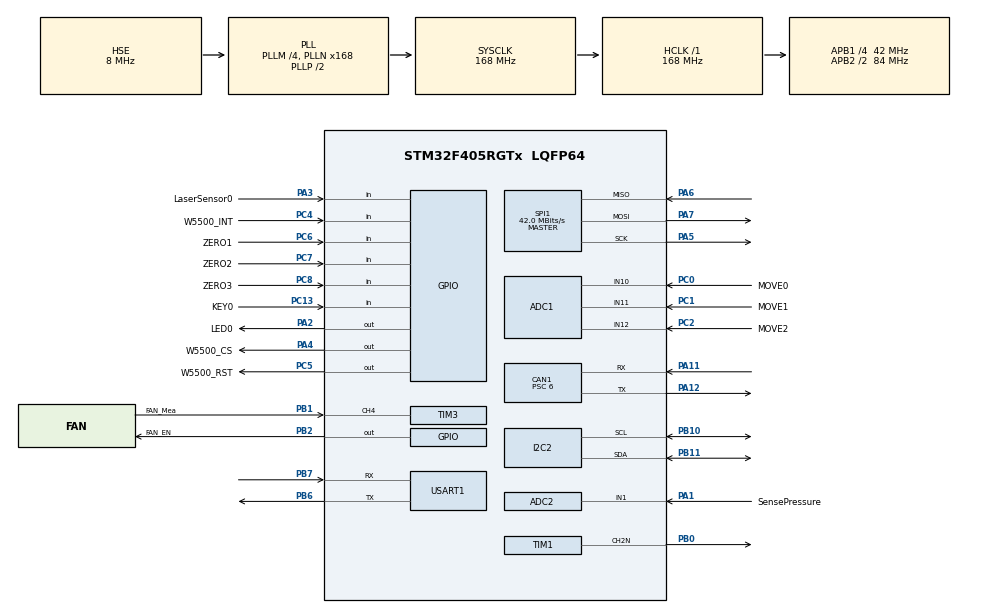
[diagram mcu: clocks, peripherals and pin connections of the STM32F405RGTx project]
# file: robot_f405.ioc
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ADC1.Channel-0\#ChannelRegularConversion=ADC_CHANNEL_10
ADC1.Channel-1\#ChannelRegularConversion=ADC_CHANNEL_11
ADC1.Channel-2\#ChannelRegularConversion=ADC_CHANNEL_12
ADC1.DiscontinuousConvMode=ENABLE
ADC1.NbrOfConversion=3
ADC1.NbrOfConversionFlag=1
ADC1.NbrOfDiscConversion=1
ADC1.Rank-0\#ChannelRegularConversion=1
ADC1.Rank-1\#ChannelRegularConversion=2
ADC1.Rank-2\#ChannelRegularConversion=3
ADC1.SamplingTime-0\#ChannelRegularConversion=ADC_SAMPLETIME_480CYCLES
ADC1.SamplingTime-1\#ChannelRegularConversion=ADC_SAMPLETIME_480CYCLES
ADC1.SamplingTime-2\#ChannelRegularConversion=ADC_SAMPLETIME_480CYCLES
ADC1.ScanConvMode=ENABLE
ADC1.master=1
ADC2.Channel-0\#ChannelRegularConversion=ADC_CHANNEL_1
ADC2.NbrOfConversionFlag=1
ADC2.Rank-0\#ChannelRegularConversion=1
ADC2.SamplingTime-0\#ChannelRegularConversion=ADC_SAMPLETIME_3CYCLES
CAN1.BS1=CAN_BS1_4TQ
CAN1.BS2=CAN_BS2_2TQ
CAN1.CalculateBaudRate=1000000
CAN1.CalculateTimeBit=1000
CAN1.CalculateTimeQuantum=142.85714285714286
CAN1.Prescaler=6
Dma.ADC1.3.Direction=DMA_PERIPH_TO_MEMORY
Dma.ADC1.3.FIFOMode=DMA_FIFOMODE_DISABLE
Dma.ADC1.3.Instance=DMA2_Stream4
Dma.ADC1.3.MemDataAlignment=DMA_MDATAALIGN_HALFWORD
Dma.ADC1.3.MemInc=DMA_MINC_ENABLE
Dma.ADC1.3.Mode=DMA_NORMAL
Dma.ADC1.3.PeriphDataAlignment=DMA_PDATAALIGN_HALFWORD
Dma.ADC1.3.PeriphInc=DMA_PINC_DISABLE
Dma.ADC1.3.Priority=DMA_PRIORITY_LOW
Dma.Request0=SPI1_RX
Dma.Request1=SPI1_TX
Dma.Request2=USART1_RX
Dma.Request3=ADC1
Dma.SPI1_RX.0.Direction=DMA_PERIPH_TO_MEMORY
Dma.SPI1_RX.0.FIFOMode=DMA_FIFOMODE_DISABLE
Dma.SPI1_RX.0.Instance=DMA2_Stream0
Dma.SPI1_RX.0.MemDataAlignment=DMA_MDATAALIGN_BYTE
Dma.SPI1_RX.0.MemInc=DMA_MINC_ENABLE
Dma.SPI1_RX.0.Mode=DMA_NORMAL
Dma.SPI1_RX.0.PeriphDataAlignment=DMA_PDATAALIGN_BYTE
Dma.SPI1_RX.0.PeriphInc=DMA_PINC_DISABLE
Dma.SPI1_RX.0.Priority=DMA_PRIORITY_HIGH
Dma.SPI1_TX.1.Direction=DMA_MEMORY_TO_PERIPH
Dma.SPI1_TX.1.FIFOMode=DMA_FIFOMODE_DISABLE
Dma.SPI1_TX.1.Instance=DMA2_Stream3
Dma.SPI1_TX.1.MemDataAlignment=DMA_MDATAALIGN_BYTE
Dma.SPI1_TX.1.MemInc=DMA_MINC_ENABLE
Dma.SPI1_TX.1.Mode=DMA_NORMAL
Dma.SPI1_TX.1.PeriphDataAlignment=DMA_PDATAALIGN_BYTE
Dma.SPI1_TX.1.PeriphInc=DMA_PINC_DISABLE
Dma.SPI1_TX.1.Priority=DMA_PRIORITY_HIGH
Dma.USART1_RX.2.Direction=DMA_PERIPH_TO_MEMORY
Dma.USART1_RX.2.FIFOMode=DMA_FIFOMODE_DISABLE
Dma.USART1_RX.2.Instance=DMA2_Stream2
Dma.USART1_RX.2.MemDataAlignment=DMA_MDATAALIGN_BYTE
Dma.USART1_RX.2.MemInc=DMA_MINC_ENABLE
Dma.USART1_RX.2.Mode=DMA_NORMAL
Dma.USART1_RX.2.PeriphDataAlignment=DMA_PDATAALIGN_BYTE
Dma.USART1_RX.2.PeriphInc=DMA_PINC_DISABLE
Dma.USART1_RX.2.Priority=DMA_PRIORITY_LOW
FREERTOS.Tasks01=defaultTask,24,128,StartDefaultTask,Default,NULL,Dynamic,NULL,NULL
FREERTOS.configTOTAL_HEAP_SIZE=16384
Mcu.Family=STM32F4
Mcu.Name=STM32F405RGTx
Mcu.Package=LQFP64
NVIC.CAN1_RX1_IRQn=true\:5\:0\:false\:false\:true\:true\:true\:true\:true
NVIC.DMA2_Stream0_IRQn=true\:5\:0\:false\:false\:true\:true\:false\:true\:true
NVIC.DMA2_Stream2_IRQn=true\:5\:0\:false\:false\:true\:true\:false\:true\:true
NVIC.DMA2_Stream3_IRQn=true\:5\:0\:false\:false\:true\:true\:false\:true\:true
NVIC.DMA2_Stream4_IRQn=true\:5\:0\:false\:false\:true\:true\:false\:true\:true
NVIC.PriorityGroup=NVIC_PRIORITYGROUP_4
NVIC.TIM1_UP_TIM10_IRQn=true\:10\:0\:true\:false\:true\:true\:true\:true\:true
NVIC.TIM2_IRQn=true\:15\:0\:false\:false\:true\:false\:false\:true\:true
NVIC.TIM3_IRQn=true\:5\:0\:false\:false\:true\:true\:true\:true\:true
NVIC.TimeBase=TIM2_IRQn
NVIC.TimeBaseIP=TIM2
NVIC.USART1_IRQn=true\:5\:0\:false\:false\:true\:true\:true\:true\:true
PA1.GPIO_Label=SensePressure
PA1.Signal=ADCx_IN1
PA11.Mode=CAN_Activate
PA11.Signal=CAN1_RX
PA12.Mode=CAN_Activate
PA12.Signal=CAN1_TX
PA13.Mode=Serial_Wire
PA13.Signal=SYS_JTMS-SWDIO
PA14.Mode=Serial_Wire
PA14.Signal=SYS_JTCK-SWCLK
PA2.GPIO_Label=LED0
PA2.Signal=GPIO_Output
PA3.GPIO_Label=LaserSensor0
PA3.GPIO_PuPd=GPIO_PULLDOWN
PA3.Signal=GPIO_Input
PA4.GPIO_Label=W5500_CS
PA4.GPIO_PuPd=GPIO_PULLDOWN
PA4.Signal=GPIO_Output
PA5.Mode=Full_Duplex_Master
PA5.Signal=SPI1_SCK
PA6.GPIO_PuPd=GPIO_PULLDOWN
PA6.Mode=Full_Duplex_Master
PA6.Signal=SPI1_MISO
PA7.Mode=Full_Duplex_Master
PA7.Signal=SPI1_MOSI
PB0.Mode=PWM Generation2 CH2N
PB0.Signal=TIM1_CH2N
PB1.GPIO_Label=FAN_Mea
PB1.Signal=S_TIM3_CH4
PB10.Mode=I2C
PB10.Signal=I2C2_SCL
PB11.Mode=I2C
PB11.Signal=I2C2_SDA
PB2.GPIO_Label=FAN_EN
PB2.GPIO_PuPd=GPIO_PULLDOWN
PB2.Signal=GPIO_Output
PB6.Mode=Asynchronous
PB6.Signal=USART1_TX
PB7.Mode=Asynchronous
PB7.Signal=USART1_RX
PC0.GPIO_Label=MOVE0
PC0.Signal=ADCx_IN10
PC1.GPIO_Label=MOVE1
PC1.Signal=ADCx_IN11
PC13-ANTI_TAMP.GPIO_Label=KEY0
PC13-ANTI_TAMP.Signal=GPIO_Input
PC2.GPIO_Label=MOVE2
PC2.Signal=ADCx_IN12
PC4.GPIO_Label=W5500_INT
PC4.Signal=GPIO_Input
PC5.GPIO_Label=W5500_RST
PC5.GPIO_PuPd=GPIO_PULLDOWN
PC5.Signal=GPIO_Output
PC6.GPIO_Label=ZERO1
PC6.GPIO_PuPd=GPIO_PULLDOWN
PC6.Signal=GPIO_Input
PC7.GPIO_Label=ZERO2
PC7.GPIO_PuPd=GPIO_PULLDOWN
PC7.Signal=GPIO_Input
PC8.GPIO_Label=ZERO3
PC8.GPIO_PuPd=GPIO_PULLDOWN
PC8.Signal=GPIO_Input
PH0-OSC_IN.Mode=HSE-External-Oscillator
PH0-OSC_IN.Signal=RCC_OSC_IN
PH1-OSC_OUT.Mode=HSE-External-Oscillator
PH1-OSC_OUT.Signal=RCC_OSC_OUT
ProjectManager.HeapSize=0x400
ProjectManager.StackSize=0x800
ProjectManager.TargetToolchain=MDK-ARM V5.32
RCC.48MHZClocksFreq_Value=84000000
RCC.AHBFreq_Value=168000000
RCC.APB1CLKDivider=RCC_HCLK_DIV4
RCC.APB1Freq_Value=42000000
RCC.APB1TimFreq_Value=84000000
RCC.APB2CLKDivider=RCC_HCLK_DIV2
RCC.APB2Freq_Value=84000000
RCC.APB2TimFreq_Value=168000000
RCC.CortexFreq_Value=168000000
RCC.HCLKFreq_Value=168000000
RCC.HSE_VALUE=8000000
RCC.HSI_VALUE=16000000
RCC.LSE_VALUE=32768
RCC.PLLM=4
RCC.PLLN=168
RCC.PLLSourceVirtual=RCC_PLLSOURCE_HSE
RCC.SYSCLKFreq_VALUE=168000000
RCC.SYSCLKSource=RCC_SYSCLKSOURCE_PLLCLK
RCC.VCOOutputFreq_Value=336000000
SH.ADCx_IN1.0=ADC2_IN1,IN1
SH.ADCx_IN10.0=ADC1_IN10,IN10
SH.ADCx_IN11.0=ADC1_IN11,IN11
SH.ADCx_IN12.0=ADC1_IN12,IN12
SH.S_TIM3_CH4.0=TIM3_CH4,Input_Capture4_from_TI4
SPI1.CalculateBaudRate=42.0 MBits/s
SPI1.Direction=SPI_DIRECTION_2LINES
SPI1.Mode=SPI_MODE_MASTER
SPI1.VirtualType=VM_MASTER
TIM1.AutoReloadPreload=TIM_AUTORELOAD_PRELOAD_ENABLE
TIM1.Channel-PWM\ Generation2\ CH2N=TIM_CHANNEL_2
TIM1.Period=1000-1
TIM1.Prescaler=168-1
TIM3.AutoReloadPreload=TIM_AUTORELOAD_PRELOAD_ENABLE
TIM3.Channel-Input_Capture4_from_TI4=TIM_CHANNEL_4
TIM3.Prescaler=168-1
USART1.VirtualMode=VM_ASYNC
VP_FREERTOS_VS_CMSIS_V2.Mode=CMSIS_V2
VP_SYS_VS_tim2.Mode=TIM2
VP_TIM1_VS_ClockSourceINT.Mode=Internal
board=custom

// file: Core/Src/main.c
/* USER CODE BEGIN Header */
/**
  ******************************************************************************
  * @file           : main.c
  * @brief          : Main program body
  ******************************************************************************
  * @attention
  *
  * Copyright (c) 2024 STMicroelectronics.
  * All rights reserved.
  *
  * This software is licensed under terms that can be found in the LICENSE file
  * in the root directory of this software component.
  * If no LICENSE file comes with this software, it is provided AS-IS.
  *
  ******************************************************************************
  */
/* USER CODE END Header */
#include "main.h"
#include "cmsis_os.h"

/* USER CODE BEGIN Includes */

#include "cmd_tsk.h"
#include "physparams.h"
/* USER CODE END Includes */

ADC_HandleTypeDef hadc1;
ADC_HandleTypeDef hadc2;
DMA_HandleTypeDef hdma_adc1;

CAN_HandleTypeDef hcan1;

I2C_HandleTypeDef hi2c2;

SPI_HandleTypeDef hspi1;
DMA_HandleTypeDef hdma_spi1_rx;
DMA_HandleTypeDef hdma_spi1_tx;

TIM_HandleTypeDef htim1;
TIM_HandleTypeDef htim3;

UART_HandleTypeDef huart1;
DMA_HandleTypeDef hdma_usart1_rx;

/* Definitions for defaultTask */
osThreadId_t defaultTaskHandle;
const osThreadAttr_t defaultTask_attributes = {
  .name = "defaultTask",
  .stack_size = 128 * 4,
  .priority = (osPriority_t) osPriorityNormal,
};
/* USER CODE BEGIN PV */
uint8_t ethPeriod = 5; // ms
SemaphoreHandle_t ethDealTickSem, ethTxTickSem;
SemaphoreHandle_t motionTickSem, fanTickSem;
QueueHandle_t can1RxQueueHandle, dbgQueue;
/* USER CODE END PV */

void SystemClock_Config(void);
static void MX_GPIO_Init(void);
static void MX_DMA_Init(void);
static void MX_ADC1_Init(void);
static void MX_ADC2_Init(void);
static void MX_CAN1_Init(void);
static void MX_I2C2_Init(void);
static void MX_SPI1_Init(void);
static void MX_TIM1_Init(void);
static void MX_TIM3_Init(void);
static void MX_USART1_UART_Init(void);
void StartDefaultTask(void *argument);

int main(void)
{

  /* MCU Configuration--------------------------------------------------------*/

  /* Reset of all peripherals, Initializes the Flash interface and the Systick. */
  HAL_Init();

  /* Configure the system clock */
  SystemClock_Config();

  /* Initialize all configured peripherals */
  MX_GPIO_Init();
  MX_DMA_Init();
  MX_ADC1_Init();
  MX_ADC2_Init();
  MX_CAN1_Init();
  MX_I2C2_Init();
  MX_SPI1_Init();
  MX_TIM1_Init();
  MX_TIM3_Init();
  MX_USART1_UART_Init();

  /* Init scheduler */
  osKernelInitialize();

  /* Create the thread(s) */
  /* creation of defaultTask */
  defaultTaskHandle = osThreadNew(StartDefaultTask, NULL, &defaultTask_attributes);

  /* Start scheduler */
  osKernelStart();

  /* We should never get here as control is now taken by the scheduler */
  /* Infinite loop */
  while (1)
  {

  }
}

void SystemClock_Config(void)
{
  RCC_OscInitTypeDef RCC_OscInitStruct = {0};
  RCC_ClkInitTypeDef RCC_ClkInitStruct = {0};

  /** Configure the main internal regulator output voltage
  */
  __HAL_RCC_PWR_CLK_ENABLE();
  __HAL_PWR_VOLTAGESCALING_CONFIG(PWR_REGULATOR_VOLTAGE_SCALE1);

  /** Initializes the RCC Oscillators according to the specified parameters
  * in the RCC_OscInitTypeDef structure.
  */
  RCC_OscInitStruct.OscillatorType = RCC_OSCILLATORTYPE_HSE;
  RCC_OscInitStruct.HSEState = RCC_HSE_ON;
  RCC_OscInitStruct.PLL.PLLState = RCC_PLL_ON;
  RCC_OscInitStruct.PLL.PLLSource = RCC_PLLSOURCE_HSE;
  RCC_OscInitStruct.PLL.PLLM = 4;
  RCC_OscInitStruct.PLL.PLLN = 168;
  RCC_OscInitStruct.PLL.PLLP = RCC_PLLP_DIV2;
  RCC_OscInitStruct.PLL.PLLQ = 4;
  if (HAL_RCC_OscConfig(&RCC_OscInitStruct) != HAL_OK)
  {
    Error_Handler();
  }

  /** Initializes the CPU, AHB and APB buses clocks
  */
  RCC_ClkInitStruct.ClockType = RCC_CLOCKTYPE_HCLK|RCC_CLOCKTYPE_SYSCLK
                              |RCC_CLOCKTYPE_PCLK1|RCC_CLOCKTYPE_PCLK2;
  RCC_ClkInitStruct.SYSCLKSource = RCC_SYSCLKSOURCE_PLLCLK;
  RCC_ClkInitStruct.AHBCLKDivider = RCC_SYSCLK_DIV1;
  RCC_ClkInitStruct.APB1CLKDivider = RCC_HCLK_DIV4;
  RCC_ClkInitStruct.APB2CLKDivider = RCC_HCLK_DIV2;

  if (HAL_RCC_ClockConfig(&RCC_ClkInitStruct, FLASH_LATENCY_5) != HAL_OK)
  {
    Error_Handler();
  }
}

static void MX_ADC1_Init(void)
{

  ADC_ChannelConfTypeDef sConfig = {0};

  /** Configure the global features of the ADC (Clock, Resolution, Data Alignment and number of conversion)
  */
  hadc1.Instance = ADC1;
  hadc1.Init.ClockPrescaler = ADC_CLOCK_SYNC_PCLK_DIV4;
  hadc1.Init.Resolution = ADC_RESOLUTION_12B;
  hadc1.Init.ScanConvMode = ENABLE;
  hadc1.Init.ContinuousConvMode = DISABLE;
  hadc1.Init.DiscontinuousConvMode = ENABLE;
  hadc1.Init.NbrOfDiscConversion = 1;
  hadc1.Init.ExternalTrigConvEdge = ADC_EXTERNALTRIGCONVEDGE_NONE;
  hadc1.Init.ExternalTrigConv = ADC_SOFTWARE_START;
  hadc1.Init.DataAlign = ADC_DATAALIGN_RIGHT;
  hadc1.Init.NbrOfConversion = 3;
  hadc1.Init.DMAContinuousRequests = DISABLE;
  hadc1.Init.EOCSelection = ADC_EOC_SINGLE_CONV;
  if (HAL_ADC_Init(&hadc1) != HAL_OK)
  {
    Error_Handler();
  }

  /** Configure for the selected ADC regular channel its corresponding rank in the sequencer and its sample time.
  */
  sConfig.Channel = ADC_CHANNEL_10;
  sConfig.Rank = 1;
  sConfig.SamplingTime = ADC_SAMPLETIME_480CYCLES;
  if (HAL_ADC_ConfigChannel(&hadc1, &sConfig) != HAL_OK)
  {
    Error_Handler();
  }

  /** Configure for the selected ADC regular channel its corresponding rank in the sequencer and its sample time.
  */
  sConfig.Channel = ADC_CHANNEL_11;
  sConfig.Rank = 2;
  if (HAL_ADC_ConfigChannel(&hadc1, &sConfig) != HAL_OK)
  {
    Error_Handler();
  }

  /** Configure for the selected ADC regular channel its corresponding rank in the sequencer and its sample time.
  */
  sConfig.Channel = ADC_CHANNEL_12;
  sConfig.Rank = 3;
  if (HAL_ADC_ConfigChannel(&hadc1, &sConfig) != HAL_OK)
  {
    Error_Handler();
  }

}

static void MX_ADC2_Init(void)
{

  ADC_ChannelConfTypeDef sConfig = {0};

  /** Configure the global features of the ADC (Clock, Resolution, Data Alignment and number of conversion)
  */
  hadc2.Instance = ADC2;
  hadc2.Init.ClockPrescaler = ADC_CLOCK_SYNC_PCLK_DIV4;
  hadc2.Init.Resolution = ADC_RESOLUTION_12B;
  hadc2.Init.ScanConvMode = DISABLE;
  hadc2.Init.ContinuousConvMode = DISABLE;
  hadc2.Init.DiscontinuousConvMode = DISABLE;
  hadc2.Init.ExternalTrigConvEdge = ADC_EXTERNALTRIGCONVEDGE_NONE;
  hadc2.Init.ExternalTrigConv = ADC_SOFTWARE_START;
  hadc2.Init.DataAlign = ADC_DATAALIGN_RIGHT;
  hadc2.Init.NbrOfConversion = 1;
  hadc2.Init.DMAContinuousRequests = DISABLE;
  hadc2.Init.EOCSelection = ADC_EOC_SINGLE_CONV;
  if (HAL_ADC_Init(&hadc2) != HAL_OK)
  {
    Error_Handler();
  }

  /** Configure for the selected ADC regular channel its corresponding rank in the sequencer and its sample time.
  */
  sConfig.Channel = ADC_CHANNEL_1;
  sConfig.Rank = 1;
  sConfig.SamplingTime = ADC_SAMPLETIME_3CYCLES;
  if (HAL_ADC_ConfigChannel(&hadc2, &sConfig) != HAL_OK)
  {
    Error_Handler();
  }

}

static void MX_CAN1_Init(void)
{

  hcan1.Instance = CAN1;
  hcan1.Init.Prescaler = 6;
  hcan1.Init.Mode = CAN_MODE_NORMAL;
  hcan1.Init.SyncJumpWidth = CAN_SJW_1TQ;
  hcan1.Init.TimeSeg1 = CAN_BS1_11TQ;
  hcan1.Init.TimeSeg2 = CAN_BS2_2TQ;
  hcan1.Init.TimeTriggeredMode = DISABLE;
  hcan1.Init.AutoBusOff = DISABLE;
  hcan1.Init.AutoWakeUp = DISABLE;
  hcan1.Init.AutoRetransmission = DISABLE;
  hcan1.Init.ReceiveFifoLocked = DISABLE;
  hcan1.Init.TransmitFifoPriority = DISABLE;
  if (HAL_CAN_Init(&hcan1) != HAL_OK)
  {
    Error_Handler();
  }

}

static void MX_I2C2_Init(void)
{

  hi2c2.Instance = I2C2;
  hi2c2.Init.ClockSpeed = 100000;
  hi2c2.Init.DutyCycle = I2C_DUTYCYCLE_2;
  hi2c2.Init.OwnAddress1 = 0;
  hi2c2.Init.AddressingMode = I2C_ADDRESSINGMODE_7BIT;
  hi2c2.Init.DualAddressMode = I2C_DUALADDRESS_DISABLE;
  hi2c2.Init.OwnAddress2 = 0;
  hi2c2.Init.GeneralCallMode = I2C_GENERALCALL_DISABLE;
  hi2c2.Init.NoStretchMode = I2C_NOSTRETCH_DISABLE;
  if (HAL_I2C_Init(&hi2c2) != HAL_OK)
  {
    Error_Handler();
  }

}

static void MX_SPI1_Init(void)
{

  /* SPI1 parameter configuration*/
  hspi1.Instance = SPI1;
  hspi1.Init.Mode = SPI_MODE_MASTER;
  hspi1.Init.Direction = SPI_DIRECTION_2LINES;
  hspi1.Init.DataSize = SPI_DATASIZE_8BIT;
  hspi1.Init.CLKPolarity = SPI_POLARITY_LOW;
  hspi1.Init.CLKPhase = SPI_PHASE_1EDGE;
  hspi1.Init.NSS = SPI_NSS_SOFT;
  hspi1.Init.BaudRatePrescaler = SPI_BAUDRATEPRESCALER_2;
  hspi1.Init.FirstBit = SPI_FIRSTBIT_MSB;
  hspi1.Init.TIMode = SPI_TIMODE_DISABLE;
  hspi1.Init.CRCCalculation = SPI_CRCCALCULATION_DISABLE;
  hspi1.Init.CRCPolynomial = 10;
  if (HAL_SPI_Init(&hspi1) != HAL_OK)
  {
    Error_Handler();
  }

}

static void MX_TIM1_Init(void)
{

  TIM_ClockConfigTypeDef sClockSourceConfig = {0};
  TIM_MasterConfigTypeDef sMasterConfig = {0};
  TIM_OC_InitTypeDef sConfigOC = {0};
  TIM_BreakDeadTimeConfigTypeDef sBreakDeadTimeConfig = {0};

  htim1.Instance = TIM1;
  htim1.Init.Prescaler = 168-1;
  htim1.Init.CounterMode = TIM_COUNTERMODE_UP;
  htim1.Init.Period = 1000-1;
  htim1.Init.ClockDivision = TIM_CLOCKDIVISION_DIV1;
  htim1.Init.RepetitionCounter = 0;
  htim1.Init.AutoReloadPreload = TIM_AUTORELOAD_PRELOAD_ENABLE;
  if (HAL_TIM_Base_Init(&htim1) != HAL_OK)
  {
    Error_Handler();
  }
  sClockSourceConfig.ClockSource = TIM_CLOCKSOURCE_INTERNAL;
  if (HAL_TIM_ConfigClockSource(&htim1, &sClockSourceConfig) != HAL_OK)
  {
    Error_Handler();
  }
  if (HAL_TIM_PWM_Init(&htim1) != HAL_OK)
  {
    Error_Handler();
  }
  sMasterConfig.MasterOutputTrigger = TIM_TRGO_RESET;
  sMasterConfig.MasterSlaveMode = TIM_MASTERSLAVEMODE_DISABLE;
  if (HAL_TIMEx_MasterConfigSynchronization(&htim1, &sMasterConfig) != HAL_OK)
  {
    Error_Handler();
  }
  sConfigOC.OCMode = TIM_OCMODE_PWM1;
  sConfigOC.Pulse = 0;
  sConfigOC.OCPolarity = TIM_OCPOLARITY_HIGH;
  sConfigOC.OCNPolarity = TIM_OCNPOLARITY_HIGH;
  sConfigOC.OCFastMode = TIM_OCFAST_DISABLE;
  sConfigOC.OCIdleState = TIM_OCIDLESTATE_RESET;
  sConfigOC.OCNIdleState = TIM_OCNIDLESTATE_RESET;
  if (HAL_TIM_PWM_ConfigChannel(&htim1, &sConfigOC, TIM_CHANNEL_2) != HAL_OK)
  {
    Error_Handler();
  }
  sBreakDeadTimeConfig.OffStateRunMode = TIM_OSSR_DISABLE;
  sBreakDeadTimeConfig.OffStateIDLEMode = TIM_OSSI_DISABLE;
  sBreakDeadTimeConfig.LockLevel = TIM_LOCKLEVEL_OFF;
  sBreakDeadTimeConfig.DeadTime = 0;
  sBreakDeadTimeConfig.BreakState = TIM_BREAK_DISABLE;
  sBreakDeadTimeConfig.BreakPolarity = TIM_BREAKPOLARITY_HIGH;
  sBreakDeadTimeConfig.AutomaticOutput = TIM_AUTOMATICOUTPUT_DISABLE;
  if (HAL_TIMEx_ConfigBreakDeadTime(&htim1, &sBreakDeadTimeConfig) != HAL_OK)
  {
    Error_Handler();
  }
  HAL_TIM_MspPostInit(&htim1);

}

static void MX_TIM3_Init(void)
{

  TIM_MasterConfigTypeDef sMasterConfig = {0};
  TIM_IC_InitTypeDef sConfigIC = {0};

  htim3.Instance = TIM3;
  htim3.Init.Prescaler = 168-1;
  htim3.Init.CounterMode = TIM_COUNTERMODE_UP;
  htim3.Init.Period = 65535;
  htim3.Init.ClockDivision = TIM_CLOCKDIVISION_DIV1;
  htim3.Init.AutoReloadPreload = TIM_AUTORELOAD_PRELOAD_ENABLE;
  if (HAL_TIM_IC_Init(&htim3) != HAL_OK)
  {
    Error_Handler();
  }
  sMasterConfig.MasterOutputTrigger = TIM_TRGO_RESET;
  sMasterConfig.MasterSlaveMode = TIM_MASTERSLAVEMODE_DISABLE;
  if (HAL_TIMEx_MasterConfigSynchronization(&htim3, &sMasterConfig) != HAL_OK)
  {
    Error_Handler();
  }
  sConfigIC.ICPolarity = TIM_INPUTCHANNELPOLARITY_RISING;
  sConfigIC.ICSelection = TIM_ICSELECTION_DIRECTTI;
  sConfigIC.ICPrescaler = TIM_ICPSC_DIV1;
  sConfigIC.ICFilter = 0;
  if (HAL_TIM_IC_ConfigChannel(&htim3, &sConfigIC, TIM_CHANNEL_4) != HAL_OK)
  {
    Error_Handler();
  }

}

static void MX_USART1_UART_Init(void)
{

  huart1.Instance = USART1;
  huart1.Init.BaudRate = 115200;
  huart1.Init.WordLength = UART_WORDLENGTH_8B;
  huart1.Init.StopBits = UART_STOPBITS_1;
  huart1.Init.Parity = UART_PARITY_NONE;
  huart1.Init.Mode = UART_MODE_TX_RX;
  huart1.Init.HwFlowCtl = UART_HWCONTROL_NONE;
  huart1.Init.OverSampling = UART_OVERSAMPLING_16;
  if (HAL_UART_Init(&huart1) != HAL_OK)
  {
    Error_Handler();
  }

}

static void MX_DMA_Init(void)
{

  /* DMA controller clock enable */
  __HAL_RCC_DMA2_CLK_ENABLE();

  /* DMA interrupt init */
  /* DMA2_Stream0_IRQn interrupt configuration */
  HAL_NVIC_SetPriority(DMA2_Stream0_IRQn, 5, 0);
  HAL_NVIC_EnableIRQ(DMA2_Stream0_IRQn);
  /* DMA2_Stream2_IRQn interrupt configuration */
  HAL_NVIC_SetPriority(DMA2_Stream2_IRQn, 5, 0);
  HAL_NVIC_EnableIRQ(DMA2_Stream2_IRQn);
  /* DMA2_Stream3_IRQn interrupt configuration */
  HAL_NVIC_SetPriority(DMA2_Stream3_IRQn, 5, 0);
  HAL_NVIC_EnableIRQ(DMA2_Stream3_IRQn);
  /* DMA2_Stream4_IRQn interrupt configuration */
  HAL_NVIC_SetPriority(DMA2_Stream4_IRQn, 5, 0);
  HAL_NVIC_EnableIRQ(DMA2_Stream4_IRQn);

}

static void MX_GPIO_Init(void)
{
  GPIO_InitTypeDef GPIO_InitStruct = {0};

  /* GPIO Ports Clock Enable */
  __HAL_RCC_GPIOC_CLK_ENABLE();
  __HAL_RCC_GPIOH_CLK_ENABLE();
  __HAL_RCC_GPIOA_CLK_ENABLE();
  __HAL_RCC_GPIOB_CLK_ENABLE();

  /*Configure GPIO pin Output Level */
  HAL_GPIO_WritePin(GPIOA, LED0_Pin|W5500_CS_Pin, GPIO_PIN_RESET);

  /*Configure GPIO pin Output Level */
  HAL_GPIO_WritePin(W5500_RST_GPIO_Port, W5500_RST_Pin, GPIO_PIN_RESET);

  /*Configure GPIO pin Output Level */
  HAL_GPIO_WritePin(FAN_EN_GPIO_Port, FAN_EN_Pin, GPIO_PIN_RESET);

  /*Configure GPIO pins : KEY0_Pin W5500_INT_Pin */
  GPIO_InitStruct.Pin = KEY0_Pin|W5500_INT_Pin;
  GPIO_InitStruct.Mode = GPIO_MODE_INPUT;
  GPIO_InitStruct.Pull = GPIO_NOPULL;
  HAL_GPIO_Init(GPIOC, &GPIO_InitStruct);

  /*Configure GPIO pin : LED0_Pin */
  GPIO_InitStruct.Pin = LED0_Pin;
  GPIO_InitStruct.Mode = GPIO_MODE_OUTPUT_PP;
  GPIO_InitStruct.Pull = GPIO_NOPULL;
  GPIO_InitStruct.Speed = GPIO_SPEED_FREQ_LOW;
  HAL_GPIO_Init(LED0_GPIO_Port, &GPIO_InitStruct);

  /*Configure GPIO pin : LaserSensor0_Pin */
  GPIO_InitStruct.Pin = LaserSensor0_Pin;
  GPIO_InitStruct.Mode = GPIO_MODE_INPUT;
  GPIO_InitStruct.Pull = GPIO_PULLDOWN;
  HAL_GPIO_Init(LaserSensor0_GPIO_Port, &GPIO_InitStruct);

  /*Configure GPIO pin : W5500_CS_Pin */
  GPIO_InitStruct.Pin = W5500_CS_Pin;
  GPIO_InitStruct.Mode = GPIO_MODE_OUTPUT_PP;
  GPIO_InitStruct.Pull = GPIO_PULLDOWN;
  GPIO_InitStruct.Speed = GPIO_SPEED_FREQ_LOW;
  HAL_GPIO_Init(W5500_CS_GPIO_Port, &GPIO_InitStruct);

  /*Configure GPIO pin : W5500_RST_Pin */
  GPIO_InitStruct.Pin = W5500_RST_Pin;
  GPIO_InitStruct.Mode = GPIO_MODE_OUTPUT_PP;
  GPIO_InitStruct.Pull = GPIO_PULLDOWN;
  GPIO_InitStruct.Speed = GPIO_SPEED_FREQ_LOW;
  HAL_GPIO_Init(W5500_RST_GPIO_Port, &GPIO_InitStruct);

  /*Configure GPIO pin : FAN_EN_Pin */
  GPIO_InitStruct.Pin = FAN_EN_Pin;
  GPIO_InitStruct.Mode = GPIO_MODE_OUTPUT_PP;
  GPIO_InitStruct.Pull = GPIO_PULLDOWN;
  GPIO_InitStruct.Speed = GPIO_SPEED_FREQ_LOW;
  HAL_GPIO_Init(FAN_EN_GPIO_Port, &GPIO_InitStruct);

  /*Configure GPIO pins : ZERO1_Pin ZERO2_Pin ZERO3_Pin */
  GPIO_InitStruct.Pin = ZERO1_Pin|ZERO2_Pin|ZERO3_Pin;
  GPIO_InitStruct.Mode = GPIO_MODE_INPUT;
  GPIO_InitStruct.Pull = GPIO_PULLDOWN;
  HAL_GPIO_Init(GPIOC, &GPIO_InitStruct);

}

/* USER CODE BEGIN 4 */
void eprint(char *str)
{
  bool rtn;
  rtn = xQueueSend(dbgQueue, str, portMAX_DELAY);
  configASSERT(rtn == pdPASS);
}

/* USER CODE END 4 */

void StartDefaultTask(void *argument)
{
  for(;;)
  {
    osDelay(1);
  }
}

void HAL_TIM_PeriodElapsedCallback(TIM_HandleTypeDef *htim)
{
  /* USER CODE BEGIN Callback 0 */
  static uint32_t cnt = 0;
  /* USER CODE END Callback 0 */
  if (htim->Instance == TIM2) {
    HAL_IncTick();
  }
  /* USER CODE BEGIN Callback 1 */
  if (htim->Instance == TIM1)
  {
    cnt++;
    BaseType_t pxHigherPriorityTaskWoken;
    if (ethTxTickSem != NULL)
    {
      if (cnt % ethPeriod == 0)
      {
        xSemaphoreGiveFromISR(ethTxTickSem, &pxHigherPriorityTaskWoken);
        portYIELD_FROM_ISR(pxHigherPriorityTaskWoken);
      }
    }
    if (ethDealTickSem != NULL)
    {
      if (cnt % ethPeriod == 0)
      {
        xSemaphoreGiveFromISR(ethDealTickSem, &pxHigherPriorityTaskWoken);
        portYIELD_FROM_ISR(pxHigherPriorityTaskWoken);
      }
    }
    if (motionTickSem != NULL)
    {
      xSemaphoreGiveFromISR(motionTickSem, &pxHigherPriorityTaskWoken);
      portYIELD_FROM_ISR(pxHigherPriorityTaskWoken);
    }
    if (fanTickSem != NULL)
    {
      xSemaphoreGiveFromISR(fanTickSem, &pxHigherPriorityTaskWoken);
      portYIELD_FROM_ISR(pxHigherPriorityTaskWoken);
    }
  }

  /* USER CODE END Callback 1 */
}

void Error_Handler(void)
{
  __disable_irq();
  while (1)
  {
  }
}
